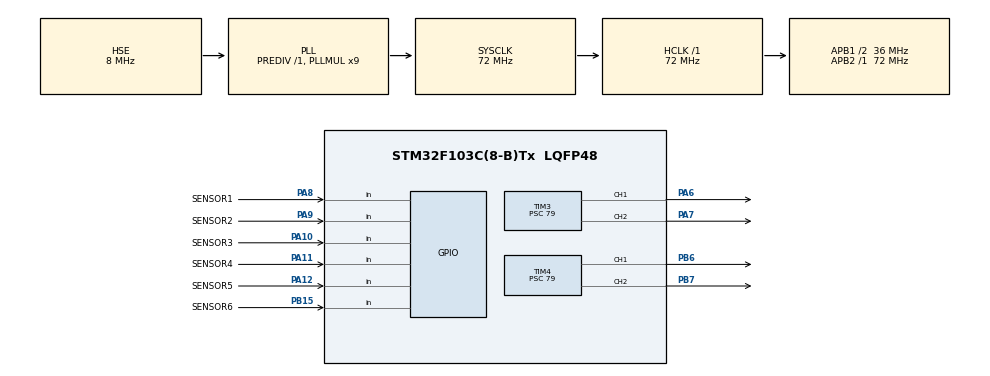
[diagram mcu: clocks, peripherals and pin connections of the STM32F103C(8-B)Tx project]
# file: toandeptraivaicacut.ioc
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Mcu.Family=STM32F1
Mcu.Name=STM32F103C(8-B)Tx
Mcu.Package=LQFP48
NVIC.PriorityGroup=NVIC_PRIORITYGROUP_4
PA10.GPIO_Label=SENSOR3
PA10.Signal=GPIO_Input
PA11.GPIO_Label=SENSOR4
PA11.Signal=GPIO_Input
PA12.GPIO_Label=SENSOR5
PA12.Signal=GPIO_Input
PA13.Mode=Serial_Wire
PA13.Signal=SYS_JTMS-SWDIO
PA14.Mode=Serial_Wire
PA14.Signal=SYS_JTCK-SWCLK
PA6.Signal=S_TIM3_CH1
PA7.Signal=S_TIM3_CH2
PA8.GPIO_Label=SENSOR1
PA8.Signal=GPIO_Input
PA9.GPIO_Label=SENSOR2
PA9.Signal=GPIO_Input
PB15.GPIO_Label=SENSOR6
PB15.Signal=GPIO_Input
PB6.Signal=S_TIM4_CH1
PB7.Signal=S_TIM4_CH2
PD0-OSC_IN.Mode=HSE-External-Oscillator
PD0-OSC_IN.Signal=RCC_OSC_IN
PD1-OSC_OUT.Mode=HSE-External-Oscillator
PD1-OSC_OUT.Signal=RCC_OSC_OUT
ProjectManager.HeapSize=0x200
ProjectManager.StackSize=0x400
ProjectManager.TargetToolchain=STM32CubeIDE
RCC.AHBFreq_Value=72000000
RCC.APB1CLKDivider=RCC_HCLK_DIV2
RCC.APB1Freq_Value=36000000
RCC.APB1TimFreq_Value=72000000
RCC.APB2Freq_Value=72000000
RCC.APB2TimFreq_Value=72000000
RCC.HCLKFreq_Value=72000000
RCC.PLLMUL=RCC_PLL_MUL9
RCC.PLLSourceVirtual=RCC_PLLSOURCE_HSE
RCC.SYSCLKFreq_VALUE=72000000
RCC.SYSCLKSource=RCC_SYSCLKSOURCE_PLLCLK
RCC.USBFreq_Value=72000000
SH.S_TIM3_CH1.0=TIM3_CH1,PWM Generation1 CH1
SH.S_TIM3_CH2.0=TIM3_CH2,PWM Generation2 CH2
SH.S_TIM4_CH1.0=TIM4_CH1,PWM Generation1 CH1
SH.S_TIM4_CH2.0=TIM4_CH2,PWM Generation2 CH2
TIM3.Channel-PWM\ Generation1\ CH1=TIM_CHANNEL_1
TIM3.Channel-PWM\ Generation2\ CH2=TIM_CHANNEL_2
TIM3.Period=999
TIM3.Prescaler=79
TIM3.Pulse-PWM\ Generation1\ CH1=199
TIM3.Pulse-PWM\ Generation2\ CH2=199
TIM4.Channel-PWM\ Generation1\ CH1=TIM_CHANNEL_1
TIM4.Channel-PWM\ Generation2\ CH2=TIM_CHANNEL_2
TIM4.Period=999
TIM4.Prescaler=79
TIM4.Pulse-PWM\ Generation1\ CH1=199
TIM4.Pulse-PWM\ Generation2\ CH2=199
VP_TIM3_VS_ClockSourceINT.Mode=Internal
VP_TIM4_VS_ClockSourceINT.Mode=Internal
board=custom

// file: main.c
/* USER CODE BEGIN Header */
/**
  ******************************************************************************
  * @file           : main.c
  * @brief          : Main program body
  ******************************************************************************
  * @attention
  *
  * Copyright (c) 2024 STMicroelectronics.
  * All rights reserved.
  *
  * This software is licensed under terms that can be found in the LICENSE file
  * in the root directory of this software component.
  * If no LICENSE file comes with this software, it is provided AS-IS.
  *
  ******************************************************************************
  */
/* USER CODE END Header */
#include "main.h"

TIM_HandleTypeDef htim3;
TIM_HandleTypeDef htim4;

/* USER CODE BEGIN PV */
int position;

	float Kp = 0.007; //set up the constants value
	float Ki = 0.00;
	float Kd = 0.003;
	float Kr = 0;
	int P, I, D, R;
	int lastError = 0;
	int errors[10] = {0,0,0,0,0,0,0,0,0,0};
	int error_sum = 0;
	int last_end ;	// 0 -> Left, 1 -> Right
	int last_idle = 0;

	const int ARR = 10;

	int actives = 0;
/* USER CODE END PV */

void SystemClock_Config(void);
static void MX_GPIO_Init(void);
static void MX_TIM3_Init(void);
static void MX_TIM4_Init(void);

/* USER CODE BEGIN 0 */
void Set_Pin_Output (GPIO_TypeDef *GPIOx, uint16_t GPIO_Pin)
{
	GPIO_InitTypeDef GPIO_InitStruct = {0};
	GPIO_InitStruct.Pin = GPIO_Pin;
	GPIO_InitStruct.Mode = GPIO_MODE_OUTPUT_PP;
	GPIO_InitStruct.Speed = GPIO_SPEED_FREQ_LOW;
	HAL_GPIO_Init(GPIOx, &GPIO_InitStruct);
}

void Set_Pin_Input (GPIO_TypeDef *GPIOx, uint16_t GPIO_Pin)
{
	GPIO_InitTypeDef GPIO_InitStruct = {0};
	GPIO_InitStruct.Pin = GPIO_Pin;
	GPIO_InitStruct.Mode = GPIO_MODE_INPUT;
	GPIO_InitStruct.Pull = GPIO_PULLUP;
	HAL_GPIO_Init(GPIOx, &GPIO_InitStruct);
}

void motor_control (double pos_right, double pos_left)
{
	if (pos_left < 0 )
	{
		__HAL_TIM_SET_COMPARE (&htim3, TIM_CHANNEL_1, ARR*0);
		__HAL_TIM_SET_COMPARE (&htim3, TIM_CHANNEL_2, -ARR*pos_left);
	}
	if (pos_left > 0 )
	{
		__HAL_TIM_SET_COMPARE (&htim3, TIM_CHANNEL_1, ARR*pos_left);
		__HAL_TIM_SET_COMPARE (&htim3, TIM_CHANNEL_2, ARR*0);
	}
	if (pos_left == 0 )
		{
			__HAL_TIM_SET_COMPARE (&htim3, TIM_CHANNEL_1, ARR*0);
			__HAL_TIM_SET_COMPARE (&htim3, TIM_CHANNEL_2, ARR*0);
		}
	if (pos_right < 0 )
	{
		__HAL_TIM_SET_COMPARE (&htim4, TIM_CHANNEL_1, ARR*0);
		__HAL_TIM_SET_COMPARE (&htim4, TIM_CHANNEL_2, -ARR*pos_right);
	}
	if (pos_right > 0 )
	{
		__HAL_TIM_SET_COMPARE (&htim4, TIM_CHANNEL_1, ARR*pos_right);
		__HAL_TIM_SET_COMPARE (&htim4, TIM_CHANNEL_2, ARR*0);
	}
	if (pos_right == 0 )
		{
			__HAL_TIM_SET_COMPARE (&htim4, TIM_CHANNEL_1, ARR*0);
			__HAL_TIM_SET_COMPARE (&htim4, TIM_CHANNEL_2, ARR*0);
		}

}

/* USER CODE END 0 */

int main(void)
{

  /* MCU Configuration--------------------------------------------------------*/

  /* Reset of all peripherals, Initializes the Flash interface and the Systick. */
  HAL_Init();

  /* Configure the system clock */
  SystemClock_Config();

  /* Initialize all configured peripherals */
  MX_GPIO_Init();
  MX_TIM3_Init();
  MX_TIM4_Init();
  /* USER CODE BEGIN 2 */
    HAL_TIM_PWM_Start(&htim3, TIM_CHANNEL_1);
  	HAL_TIM_PWM_Start(&htim4, TIM_CHANNEL_1);
  	HAL_TIM_PWM_Start(&htim3, TIM_CHANNEL_2);
  	HAL_TIM_PWM_Start(&htim4, TIM_CHANNEL_2);

  /* USER CODE END 2 */

  /* Infinite loop */
  while (1)
  {

    /* USER CODE BEGIN 3 */
	       int pos = 0;
	  	    int active = 0;
	  	    int straight = 0 ;

	  	    GPIO_PinState sensor1State = HAL_GPIO_ReadPin(SENSOR1_GPIO_Port, SENSOR1_Pin);
	  		GPIO_PinState sensor2State = HAL_GPIO_ReadPin(SENSOR2_GPIO_Port, SENSOR2_Pin);
	  		GPIO_PinState sensor3State = HAL_GPIO_ReadPin(SENSOR3_GPIO_Port, SENSOR3_Pin);
	  	    GPIO_PinState sensor4State = HAL_GPIO_ReadPin(SENSOR4_GPIO_Port, SENSOR4_Pin);
	  	    GPIO_PinState sensor5State = HAL_GPIO_ReadPin(SENSOR5_GPIO_Port, SENSOR5_Pin);
	  	    GPIO_PinState sensor6State = HAL_GPIO_ReadPin(SENSOR6_GPIO_Port, SENSOR6_Pin);
	  	    if (sensor1State == GPIO_PIN_SET) {
	  	    pos += 1000;
	  	    active++;
	  	    last_end = 1;
	  	    }
	  	    if (sensor2State == GPIO_PIN_SET){
	  	    pos += 2500;
	  	    active++;

	  	    }
	  	    if (sensor3State == GPIO_PIN_SET) {
	  	    pos += 3000;
	  	    active++;

	  		}
	  	    if (sensor4State == GPIO_PIN_SET) {
	  		pos += 3500;
	  	    active++;

	  		}
	  	    if (sensor5State == GPIO_PIN_SET) {

	  	     pos += 5000;
	  	     active++;
	  		 last_end = 0;
	  		}
	  	    if (sensor6State == GPIO_PIN_SET) {

		  	     straight++;
		  		}

	  	     actives = active;
	  		 int position = pos/active;
             int error = 3000- position ;
             for (int i = 9; i > 0; i--){
               errors[i] = errors[i-1];
               errors[0] = error;
             }
             int sum = 0;
                for (int i = 0; i < 2; i++)
                {
                  if ( errors[i] < 0)
                    sum += -errors[i];
                  else
                    sum += errors[i];
                }
             P=error;
             I= sum ;
             D= error - lastError;
             error= lastError;
             int motorspeed = P*Kp+ I*Ki - D*Kd ;
             int speedleft=25- motorspeed;
             int speedright= 25 + motorspeed;
             if (actives == 0 && last_end ==1 )
            	 motor_control(25,-25);
             if(actives ==0 && last_end ==0 )
            	 motor_control (-25,25);

             else
            	 motor_control(speedright,speedleft);

  }
  /* USER CODE END 3 */
}

void SystemClock_Config(void)
{
  RCC_OscInitTypeDef RCC_OscInitStruct = {0};
  RCC_ClkInitTypeDef RCC_ClkInitStruct = {0};

  /** Initializes the RCC Oscillators according to the specified parameters
  * in the RCC_OscInitTypeDef structure.
  */
  RCC_OscInitStruct.OscillatorType = RCC_OSCILLATORTYPE_HSE;
  RCC_OscInitStruct.HSEState = RCC_HSE_ON;
  RCC_OscInitStruct.HSEPredivValue = RCC_HSE_PREDIV_DIV1;
  RCC_OscInitStruct.HSIState = RCC_HSI_ON;
  RCC_OscInitStruct.PLL.PLLState = RCC_PLL_ON;
  RCC_OscInitStruct.PLL.PLLSource = RCC_PLLSOURCE_HSE;
  RCC_OscInitStruct.PLL.PLLMUL = RCC_PLL_MUL9;
  if (HAL_RCC_OscConfig(&RCC_OscInitStruct) != HAL_OK)
  {
    Error_Handler();
  }

  /** Initializes the CPU, AHB and APB buses clocks
  */
  RCC_ClkInitStruct.ClockType = RCC_CLOCKTYPE_HCLK|RCC_CLOCKTYPE_SYSCLK
                              |RCC_CLOCKTYPE_PCLK1|RCC_CLOCKTYPE_PCLK2;
  RCC_ClkInitStruct.SYSCLKSource = RCC_SYSCLKSOURCE_PLLCLK;
  RCC_ClkInitStruct.AHBCLKDivider = RCC_SYSCLK_DIV1;
  RCC_ClkInitStruct.APB1CLKDivider = RCC_HCLK_DIV2;
  RCC_ClkInitStruct.APB2CLKDivider = RCC_HCLK_DIV1;

  if (HAL_RCC_ClockConfig(&RCC_ClkInitStruct, FLASH_LATENCY_2) != HAL_OK)
  {
    Error_Handler();
  }
}

static void MX_TIM3_Init(void)
{

  TIM_ClockConfigTypeDef sClockSourceConfig = {0};
  TIM_MasterConfigTypeDef sMasterConfig = {0};
  TIM_OC_InitTypeDef sConfigOC = {0};

  htim3.Instance = TIM3;
  htim3.Init.Prescaler = 79;
  htim3.Init.CounterMode = TIM_COUNTERMODE_UP;
  htim3.Init.Period = 999;
  htim3.Init.ClockDivision = TIM_CLOCKDIVISION_DIV1;
  htim3.Init.AutoReloadPreload = TIM_AUTORELOAD_PRELOAD_DISABLE;
  if (HAL_TIM_Base_Init(&htim3) != HAL_OK)
  {
    Error_Handler();
  }
  sClockSourceConfig.ClockSource = TIM_CLOCKSOURCE_INTERNAL;
  if (HAL_TIM_ConfigClockSource(&htim3, &sClockSourceConfig) != HAL_OK)
  {
    Error_Handler();
  }
  if (HAL_TIM_PWM_Init(&htim3) != HAL_OK)
  {
    Error_Handler();
  }
  sMasterConfig.MasterOutputTrigger = TIM_TRGO_RESET;
  sMasterConfig.MasterSlaveMode = TIM_MASTERSLAVEMODE_DISABLE;
  if (HAL_TIMEx_MasterConfigSynchronization(&htim3, &sMasterConfig) != HAL_OK)
  {
    Error_Handler();
  }
  sConfigOC.OCMode = TIM_OCMODE_PWM1;
  sConfigOC.Pulse = 199;
  sConfigOC.OCPolarity = TIM_OCPOLARITY_HIGH;
  sConfigOC.OCFastMode = TIM_OCFAST_DISABLE;
  if (HAL_TIM_PWM_ConfigChannel(&htim3, &sConfigOC, TIM_CHANNEL_1) != HAL_OK)
  {
    Error_Handler();
  }
  if (HAL_TIM_PWM_ConfigChannel(&htim3, &sConfigOC, TIM_CHANNEL_2) != HAL_OK)
  {
    Error_Handler();
  }
  HAL_TIM_MspPostInit(&htim3);

}

static void MX_TIM4_Init(void)
{

  TIM_ClockConfigTypeDef sClockSourceConfig = {0};
  TIM_MasterConfigTypeDef sMasterConfig = {0};
  TIM_OC_InitTypeDef sConfigOC = {0};

  htim4.Instance = TIM4;
  htim4.Init.Prescaler = 79;
  htim4.Init.CounterMode = TIM_COUNTERMODE_UP;
  htim4.Init.Period = 999;
  htim4.Init.ClockDivision = TIM_CLOCKDIVISION_DIV1;
  htim4.Init.AutoReloadPreload = TIM_AUTORELOAD_PRELOAD_DISABLE;
  if (HAL_TIM_Base_Init(&htim4) != HAL_OK)
  {
    Error_Handler();
  }
  sClockSourceConfig.ClockSource = TIM_CLOCKSOURCE_INTERNAL;
  if (HAL_TIM_ConfigClockSource(&htim4, &sClockSourceConfig) != HAL_OK)
  {
    Error_Handler();
  }
  if (HAL_TIM_PWM_Init(&htim4) != HAL_OK)
  {
    Error_Handler();
  }
  sMasterConfig.MasterOutputTrigger = TIM_TRGO_RESET;
  sMasterConfig.MasterSlaveMode = TIM_MASTERSLAVEMODE_DISABLE;
  if (HAL_TIMEx_MasterConfigSynchronization(&htim4, &sMasterConfig) != HAL_OK)
  {
    Error_Handler();
  }
  sConfigOC.OCMode = TIM_OCMODE_PWM1;
  sConfigOC.Pulse = 199;
  sConfigOC.OCPolarity = TIM_OCPOLARITY_HIGH;
  sConfigOC.OCFastMode = TIM_OCFAST_DISABLE;
  if (HAL_TIM_PWM_ConfigChannel(&htim4, &sConfigOC, TIM_CHANNEL_1) != HAL_OK)
  {
    Error_Handler();
  }
  if (HAL_TIM_PWM_ConfigChannel(&htim4, &sConfigOC, TIM_CHANNEL_2) != HAL_OK)
  {
    Error_Handler();
  }
  HAL_TIM_MspPostInit(&htim4);

}

static void MX_GPIO_Init(void)
{
  GPIO_InitTypeDef GPIO_InitStruct = {0};

  /* GPIO Ports Clock Enable */
  __HAL_RCC_GPIOD_CLK_ENABLE();
  __HAL_RCC_GPIOA_CLK_ENABLE();
  __HAL_RCC_GPIOB_CLK_ENABLE();

  /*Configure GPIO pin : SENSOR6_Pin */
  GPIO_InitStruct.Pin = SENSOR6_Pin;
  GPIO_InitStruct.Mode = GPIO_MODE_INPUT;
  GPIO_InitStruct.Pull = GPIO_NOPULL;
  HAL_GPIO_Init(SENSOR6_GPIO_Port, &GPIO_InitStruct);

  /*Configure GPIO pins : SENSOR1_Pin SENSOR2_Pin SENSOR3_Pin SENSOR4_Pin
                           SENSOR5_Pin */
  GPIO_InitStruct.Pin = SENSOR1_Pin|SENSOR2_Pin|SENSOR3_Pin|SENSOR4_Pin
                          |SENSOR5_Pin;
  GPIO_InitStruct.Mode = GPIO_MODE_INPUT;
  GPIO_InitStruct.Pull = GPIO_NOPULL;
  HAL_GPIO_Init(GPIOA, &GPIO_InitStruct);

}

void Error_Handler(void)
{
  __disable_irq();
  while (1)
  {
  }
}
